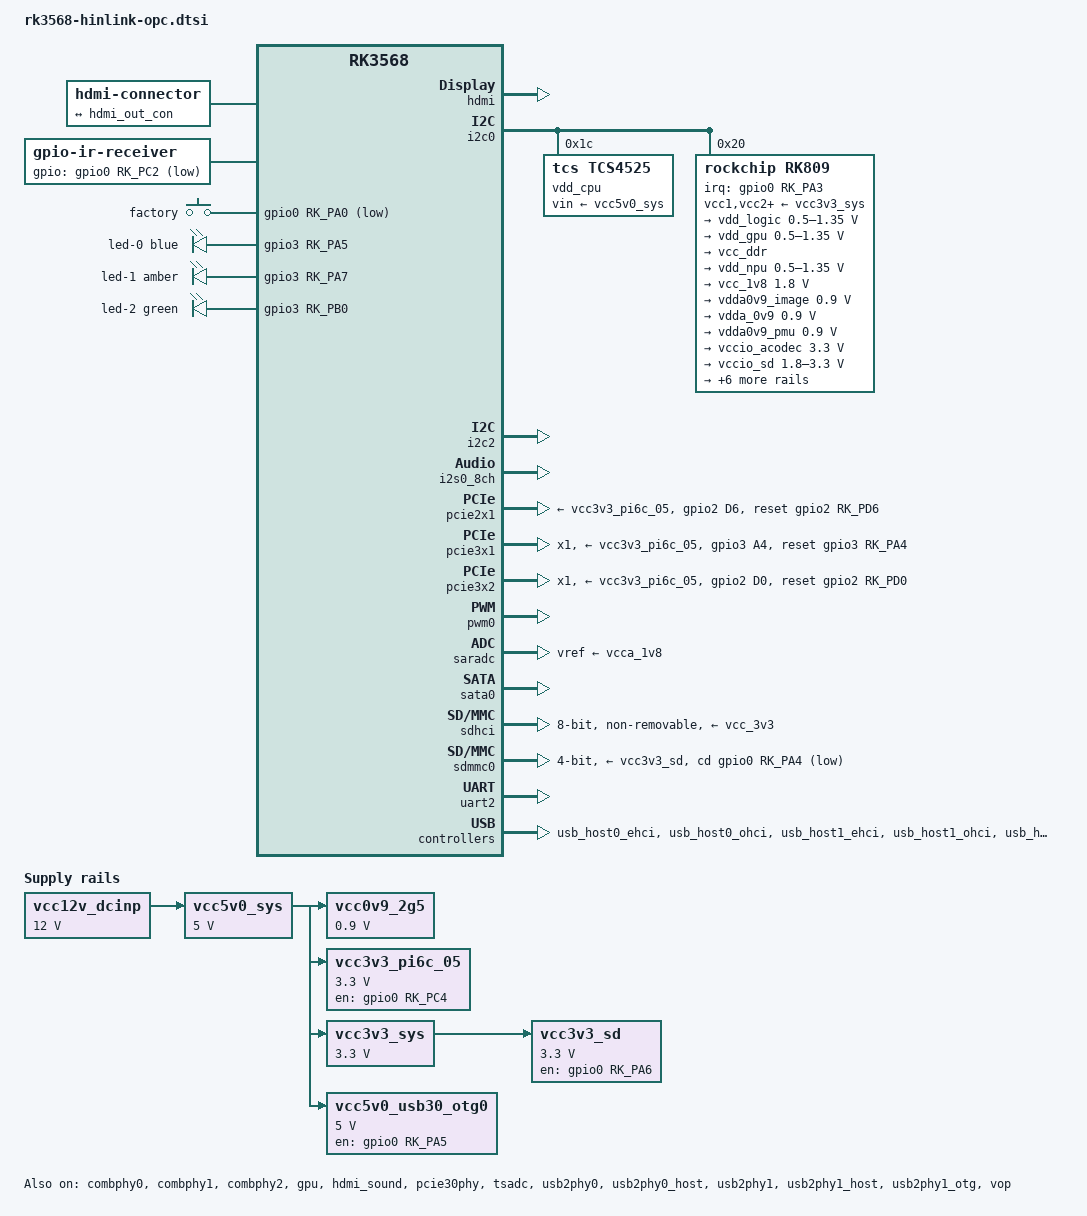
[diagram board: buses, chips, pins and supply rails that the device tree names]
// SPDX-License-Identifier: (GPL-2.0+ OR MIT)

#include <dt-bindings/gpio/gpio.h>
#include <dt-bindings/input/input.h>
#include <dt-bindings/leds/common.h>
#include <dt-bindings/pinctrl/rockchip.h>
#include <dt-bindings/soc/rockchip,vop2.h>
#include "rk3568.dtsi"

/ {
	aliases {
		mmc0 = &sdhci;
		mmc1 = &sdmmc0;
	};

	chosen {
		stdout-path = "serial2:1500000n8";
	};

	hdmi-con {
		compatible = "hdmi-connector";
		type = "a";

		port {
			hdmi_con_in: endpoint {
				remote-endpoint = <&hdmi_out_con>;
			};
		};
	};

	ir-receiver {
		compatible = "gpio-ir-receiver";
		gpios = <&gpio0 RK_PC2 GPIO_ACTIVE_LOW>;
		pinctrl-names = "default";
		pinctrl-0 = <&pwm3_ir_m0>;
	};

	keys {
		compatible = "gpio-keys";
		pinctrl-names = "default";
		pinctrl-0 = <&factory>;

		button-factory {
			label = "factory";
			linux,code = <KEY_RESTART>;
			gpios = <&gpio0 RK_PA0 GPIO_ACTIVE_LOW>;
			debounce-interval = <50>;
		};
	};

	leds {
		compatible = "gpio-leds";
		pinctrl-names = "default";
		pinctrl-0 = <&green_led>, <&red_led>, <&work_led>;

		led-0 {
			color = <LED_COLOR_ID_BLUE>;
			function = LED_FUNCTION_WAN;
			gpios = <&gpio3 RK_PA5 GPIO_ACTIVE_HIGH>;
			linux,default-trigger = "netdev";
		};

		led-1 {
			color = <LED_COLOR_ID_AMBER>;
			function = LED_FUNCTION_DISK;
			gpios = <&gpio3 RK_PA7 GPIO_ACTIVE_HIGH>;
		};

		led-2 {
			color = <LED_COLOR_ID_GREEN>;
			function = LED_FUNCTION_STATUS;
			gpios = <&gpio3 RK_PB0 GPIO_ACTIVE_HIGH>;
			linux,default-trigger = "default-on";
		};
	};

	vcc0v9_2g5: regulator-0v9-vcc-2g5 {
		compatible = "regulator-fixed";
		regulator-name = "vcc0v9_2g5";
		regulator-always-on;
		regulator-boot-on;
		regulator-min-microvolt = <900000>;
		regulator-max-microvolt = <900000>;
		vin-supply = <&vcc5v0_sys>;
	};

	vcc12v_dcinp: regulator-12v-vcc-dcinp {
		compatible = "regulator-fixed";
		regulator-name = "vcc12v_dcinp";
		regulator-always-on;
		regulator-boot-on;
		regulator-min-microvolt = <12000000>;
		regulator-max-microvolt = <12000000>;
	};

	vcc3v3_pi6c_05: regulator-3v3-vcc-pi6c-05 {
		compatible = "regulator-fixed";
		enable-active-high;
		gpios = <&gpio0 RK_PC4 GPIO_ACTIVE_HIGH>;
		pinctrl-names = "default";
		pinctrl-0 = <&lan_power_en>;
		regulator-name = "vcc3v3_pi6c_05";
		regulator-min-microvolt = <3300000>;
		regulator-max-microvolt = <3300000>;
		vin-supply = <&vcc5v0_sys>;
	};

	vcc3v3_sd: regulator-3v3-vcc-sd {
		compatible = "regulator-fixed";
		enable-active-high;
		gpios = <&gpio0 RK_PA6 GPIO_ACTIVE_HIGH>;
		pinctrl-names = "default";
		pinctrl-0 = <&sd_pwren>;
		regulator-name = "vcc3v3_sd";
		regulator-min-microvolt = <3300000>;
		regulator-max-microvolt = <3300000>;
		vin-supply = <&vcc3v3_sys>;
	};

	vcc3v3_sys: regulator-3v3-vcc-sys {
		compatible = "regulator-fixed";
		regulator-name = "vcc3v3_sys";
		regulator-always-on;
		regulator-boot-on;
		regulator-min-microvolt = <3300000>;
		regulator-max-microvolt = <3300000>;
		vin-supply = <&vcc5v0_sys>;
	};

	vcc5v0_sys: regulator-5v0-vcc-sys {
		compatible = "regulator-fixed";
		regulator-name = "vcc5v0_sys";
		regulator-always-on;
		regulator-boot-on;
		regulator-min-microvolt = <5000000>;
		regulator-max-microvolt = <5000000>;
		vin-supply = <&vcc12v_dcinp>;
	};

	vcc5v0_usb30_otg0: regulator-5v0-vcc-usb30-otg0 {
		compatible = "regulator-fixed";
		enable-active-high;
		gpios = <&gpio0 RK_PA5 GPIO_ACTIVE_HIGH>;
		pinctrl-names = "default";
		pinctrl-0 = <&usb_power_en>;
		regulator-name = "vcc5v0_usb30_otg0";
		regulator-min-microvolt = <5000000>;
		regulator-max-microvolt = <5000000>;
		vin-supply = <&vcc5v0_sys>;
	};
};

&combphy0 {
	status = "okay";
};

&combphy1 {
	status = "okay";
};

&combphy2 {
	status = "okay";
};

&cpu0 {
	cpu-supply = <&vdd_cpu>;
};

&cpu1 {
	cpu-supply = <&vdd_cpu>;
};

&cpu2 {
	cpu-supply = <&vdd_cpu>;
};

&cpu3 {
	cpu-supply = <&vdd_cpu>;
};

&gpu {
	mali-supply = <&vdd_gpu>;
	status = "okay";
};

&hdmi {
	avdd-0v9-supply = <&vdda0v9_image>;
	avdd-1v8-supply = <&vcca1v8_image>;
	status = "okay";
};

&hdmi_in {
	hdmi_in_vp0: endpoint {
		remote-endpoint = <&vp0_out_hdmi>;
	};
};

&hdmi_out {
	hdmi_out_con: endpoint {
		remote-endpoint = <&hdmi_con_in>;
	};
};

&hdmi_sound {
	status = "okay";
};

&i2c0 {
	status = "okay";

	vdd_cpu: regulator@1c {
		compatible = "tcs,tcs4525";
		reg = <0x1c>;
		fcs,suspend-voltage-selector = <1>;
		regulator-name = "vdd_cpu";
		regulator-always-on;
		regulator-boot-on;
		regulator-min-microvolt = <800000>;
		regulator-max-microvolt = <1150000>;
		regulator-ramp-delay = <2300>;
		vin-supply = <&vcc5v0_sys>;

		regulator-state-mem {
			regulator-off-in-suspend;
		};
	};

	rk809: pmic@20 {
		compatible = "rockchip,rk809";
		reg = <0x20>;
		#clock-cells = <1>;
		interrupt-parent = <&gpio0>;
		interrupts = <RK_PA3 IRQ_TYPE_LEVEL_LOW>;
		pinctrl-names = "default";
		pinctrl-0 = <&pmic_int>;
		system-power-controller;
		wakeup-source;

		vcc1-supply = <&vcc3v3_sys>;
		vcc2-supply = <&vcc3v3_sys>;
		vcc3-supply = <&vcc3v3_sys>;
		vcc4-supply = <&vcc3v3_sys>;
		vcc5-supply = <&vcc3v3_sys>;
		vcc6-supply = <&vcc3v3_sys>;
		vcc7-supply = <&vcc3v3_sys>;
		vcc8-supply = <&vcc3v3_sys>;
		vcc9-supply = <&vcc3v3_sys>;

		regulators {
			vdd_logic: DCDC_REG1 {
				regulator-name = "vdd_logic";
				regulator-always-on;
				regulator-boot-on;
				regulator-initial-mode = <0x2>;
				regulator-min-microvolt = <500000>;
				regulator-max-microvolt = <1350000>;
				regulator-ramp-delay = <6001>;

				regulator-state-mem {
					regulator-off-in-suspend;
				};
			};

			vdd_gpu: DCDC_REG2 {
				regulator-name = "vdd_gpu";
				regulator-always-on;
				regulator-boot-on;
				regulator-initial-mode = <0x2>;
				regulator-min-microvolt = <500000>;
				regulator-max-microvolt = <1350000>;
				regulator-ramp-delay = <6001>;

				regulator-state-mem {
					regulator-off-in-suspend;
				};
			};

			vcc_ddr: DCDC_REG3 {
				regulator-name = "vcc_ddr";
				regulator-always-on;
				regulator-boot-on;
				regulator-initial-mode = <0x2>;

				regulator-state-mem {
					regulator-on-in-suspend;
				};
			};

			vdd_npu: DCDC_REG4 {
				regulator-name = "vdd_npu";
				regulator-initial-mode = <0x2>;
				regulator-min-microvolt = <500000>;
				regulator-max-microvolt = <1350000>;
				regulator-ramp-delay = <6001>;

				regulator-state-mem {
					regulator-off-in-suspend;
				};
			};

			vcc_1v8: DCDC_REG5 {
				regulator-name = "vcc_1v8";
				regulator-always-on;
				regulator-boot-on;
				regulator-min-microvolt = <1800000>;
				regulator-max-microvolt = <1800000>;

				regulator-state-mem {
					regulator-off-in-suspend;
				};
			};

			vdda0v9_image: LDO_REG1 {
				regulator-name = "vdda0v9_image";
				regulator-min-microvolt = <900000>;
				regulator-max-microvolt = <900000>;

				regulator-state-mem {
					regulator-off-in-suspend;
				};
			};

			vdda_0v9: LDO_REG2 {
				regulator-name = "vdda_0v9";
				regulator-always-on;
				regulator-boot-on;
				regulator-min-microvolt = <900000>;
				regulator-max-microvolt = <900000>;

				regulator-state-mem {
					regulator-off-in-suspend;
				};
			};

			vdda0v9_pmu: LDO_REG3 {
				regulator-name = "vdda0v9_pmu";
				regulator-always-on;
				regulator-boot-on;
				regulator-min-microvolt = <900000>;
				regulator-max-microvolt = <900000>;

				regulator-state-mem {
					regulator-on-in-suspend;
					regulator-suspend-microvolt = <900000>;
				};
			};

			vccio_acodec: LDO_REG4 {
				regulator-name = "vccio_acodec";
				regulator-always-on;
				regulator-min-microvolt = <3300000>;
				regulator-max-microvolt = <3300000>;

				regulator-state-mem {
					regulator-off-in-suspend;
				};
			};

			vccio_sd: LDO_REG5 {
				regulator-name = "vccio_sd";
				regulator-min-microvolt = <1800000>;
				regulator-max-microvolt = <3300000>;

				regulator-state-mem {
					regulator-off-in-suspend;
				};
			};

			vcc3v3_pmu: LDO_REG6 {
				regulator-name = "vcc3v3_pmu";
				regulator-always-on;
				regulator-boot-on;
				regulator-min-microvolt = <3300000>;
				regulator-max-microvolt = <3300000>;

				regulator-state-mem {
					regulator-on-in-suspend;
					regulator-suspend-microvolt = <3300000>;
				};
			};

			vcca_1v8: LDO_REG7 {
				regulator-name = "vcca_1v8";
				regulator-always-on;
				regulator-boot-on;
				regulator-min-microvolt = <1800000>;
				regulator-max-microvolt = <1800000>;

				regulator-state-mem {
					regulator-off-in-suspend;
				};
			};

			vcca1v8_pmu: LDO_REG8 {
				regulator-name = "vcca1v8_pmu";
				regulator-always-on;
				regulator-boot-on;
				regulator-min-microvolt = <1800000>;
				regulator-max-microvolt = <1800000>;

				regulator-state-mem {
					regulator-on-in-suspend;
					regulator-suspend-microvolt = <1800000>;
				};
			};

			vcca1v8_image: LDO_REG9 {
				regulator-name = "vcca1v8_image";
				regulator-min-microvolt = <1800000>;
				regulator-max-microvolt = <1800000>;

				regulator-state-mem {
					regulator-off-in-suspend;
				};
			};

			vcc_3v3: SWITCH_REG1 {
				regulator-name = "vcc_3v3";
				regulator-always-on;
				regulator-boot-on;

				regulator-state-mem {
					regulator-off-in-suspend;
				};
			};

			vcc3v3: SWITCH_REG2 {
				regulator-name = "vcc3v3";
				regulator-always-on;
				regulator-boot-on;

				regulator-state-mem {
					regulator-off-in-suspend;
				};
			};
		};
	};
};

&i2c2 {
	pinctrl-names = "default";
	pinctrl-0 = <&i2c2m1_xfer>;
	status = "okay";
};

&i2s0_8ch {
	status = "okay";
};

&pcie2x1 {
	pinctrl-names = "default";
	pinctrl-0 = <&wifi_perstn>;
	reset-gpios = <&gpio2 RK_PD6 GPIO_ACTIVE_HIGH>;
	vpcie3v3-supply = <&vcc3v3_pi6c_05>;
	status = "okay";
};

&pcie30phy {
	data-lanes = <1 2>;
	status = "okay";
};

&pcie3x1 {
	num-lanes = <1>;
	pinctrl-names = "default";
	pinctrl-0 = <&lan_resetb>;
	reset-gpios = <&gpio3 RK_PA4 GPIO_ACTIVE_HIGH>;
	vpcie3v3-supply = <&vcc3v3_pi6c_05>;
	status = "okay";
};

&pcie3x2 {
	num-lanes = <1>;
	pinctrl-names = "default";
	pinctrl-0 = <&lan_reseta>;
	reset-gpios = <&gpio2 RK_PD0 GPIO_ACTIVE_HIGH>;
	vpcie3v3-supply = <&vcc3v3_pi6c_05>;
	status = "okay";
};

&pinctrl {
	keys {
		factory: factory {
			rockchip,pins = <0 RK_PA0 RK_FUNC_GPIO &pcfg_pull_up>;
		};
	};

	leds {
		green_led: green-led {
			rockchip,pins = <3 RK_PA5 RK_FUNC_GPIO &pcfg_pull_none>;
		};

		red_led: red-led {
			rockchip,pins = <3 RK_PA7 RK_FUNC_GPIO &pcfg_pull_none>;
		};

		work_led: work-led {
			rockchip,pins = <3 RK_PB0 RK_FUNC_GPIO &pcfg_pull_none>;
		};
	};

	ir {
		pwm3_ir_m0: pwm3-ir-m0 {
			rockchip,pins = <0 RK_PC2 RK_FUNC_GPIO &pcfg_pull_none>;
		};
	};

	mmc {
		sd_pwren: sd-pwren {
			rockchip,pins = <0 RK_PA6 RK_FUNC_GPIO &pcfg_pull_none>;
		};
	};

	pcie {
		lan_power_en: lan-power-en {
			rockchip,pins = <0 RK_PC4 RK_FUNC_GPIO &pcfg_pull_none>;
		};

		lan_reseta: lan-reseta {
			rockchip,pins = <2 RK_PD0 RK_FUNC_GPIO &pcfg_pull_none>;
		};

		lan_resetb: lan-resetb {
			rockchip,pins = <3 RK_PA4 RK_FUNC_GPIO &pcfg_pull_none>;
		};

		wifi_perstn: wifi-perstn {
			rockchip,pins = <2 RK_PD6 RK_FUNC_GPIO &pcfg_pull_none>;
		};
	};

	pmic {
		pmic_int: pmic-int {
			rockchip,pins = <0 RK_PA3 RK_FUNC_GPIO &pcfg_pull_up>;
		};
	};

	usb {
		usb_power_en: usb-power-en {
			rockchip,pins = <0 RK_PA5 RK_FUNC_GPIO &pcfg_pull_none>;
		};
	};
};

&pmu_io_domains {
	pmuio1-supply = <&vcc3v3_pmu>;
	pmuio2-supply = <&vcc3v3_pmu>;
	vccio1-supply = <&vccio_acodec>;
	vccio2-supply = <&vcc_1v8>;
	vccio3-supply = <&vccio_sd>;
	vccio4-supply = <&vcc_1v8>;
	vccio5-supply = <&vcc_3v3>;
	vccio6-supply = <&vcc_1v8>;
	vccio7-supply = <&vcc_3v3>;
	status = "okay";
};

&pwm0 {
	status = "okay";
};

&saradc {
	vref-supply = <&vcca_1v8>;
	status = "okay";
};

/* Via Type-C adapter */
&sata0 {
	status = "okay";
};

&sdhci {
	bus-width = <8>;
	cap-mmc-highspeed;
	max-frequency = <200000000>;
	mmc-hs200-1_8v;
	non-removable;
	pinctrl-names = "default";
	pinctrl-0 = <&emmc_bus8 &emmc_clk &emmc_cmd &emmc_datastrobe>;
	vmmc-supply = <&vcc_3v3>;
	vqmmc-supply = <&vcc_1v8>;
	status = "okay";
};

&sdmmc0 {
	bus-width = <4>;
	cap-sd-highspeed;
	cd-gpios = <&gpio0 RK_PA4 GPIO_ACTIVE_LOW>;
	disable-wp;
	pinctrl-names = "default";
	pinctrl-0 = <&sdmmc0_bus4 &sdmmc0_clk &sdmmc0_cmd &sdmmc0_det>;
	sd-uhs-sdr50;
	vmmc-supply = <&vcc3v3_sd>;
	vqmmc-supply = <&vccio_sd>;
	status = "okay";
};

&tsadc {
	rockchip,hw-tshut-mode = <1>;
	rockchip,hw-tshut-polarity = <0>;
	status = "okay";
};

&uart2 {
	status = "okay";
};

&usb_host0_ehci {
	status = "okay";
};

&usb_host0_ohci {
	status = "okay";
};

&usb_host1_ehci {
	status = "okay";
};

&usb_host1_ohci {
	status = "okay";
};

&usb_host1_xhci {
	status = "okay";
};

&usb2phy0 {
	status = "okay";
};

&usb2phy0_host {
	phy-supply = <&vcc5v0_usb30_otg0>;
	status = "okay";
};

&usb2phy1 {
	status = "okay";
};

&usb2phy1_host {
	phy-supply = <&vcc5v0_usb30_otg0>;
	status = "okay";
};

&usb2phy1_otg {
	phy-supply = <&vcc5v0_usb30_otg0>;
	status = "okay";
};

&vop {
	assigned-clocks = <&cru DCLK_VOP0>, <&cru DCLK_VOP1>;
	assigned-clock-parents = <&pmucru PLL_HPLL>, <&cru PLL_VPLL>;
	status = "okay";
};

&vop_mmu {
	status = "okay";
};

&vp0 {
	vp0_out_hdmi: endpoint@ROCKCHIP_VOP2_EP_HDMI0 {
		reg = <ROCKCHIP_VOP2_EP_HDMI0>;
		remote-endpoint = <&hdmi_in_vp0>;
	};
};
